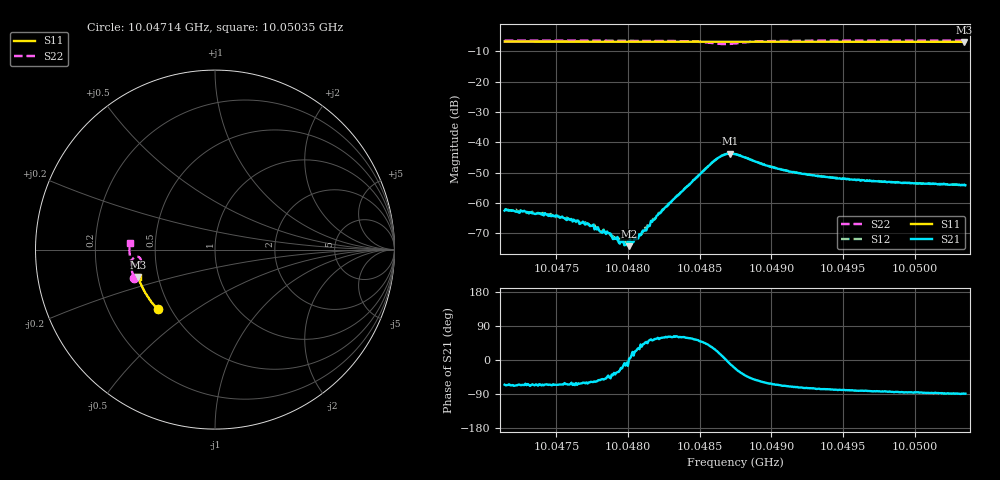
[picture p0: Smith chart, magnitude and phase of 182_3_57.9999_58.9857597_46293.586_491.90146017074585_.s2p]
#  HZ  S  RI  R  50.00
! Rohde & Schwarz Vector Network Analyzer
! Rohde-Schwarz,ZNB20-2Port,1311601062101988,3.16
! Created: UTC 3/21/2024, 12:58:23 AM
! freq[Hz]  re:S11  im:S11  re:S21  im:S21  re:S12  im:S12  re:S22  im:S22
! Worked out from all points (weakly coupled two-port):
!   401 points, 10.04714 GHz to 10.05035 GHz, reference 50 ohm
!   highest |S21| = -43.73 dB at 10.04871 GHz (marker M1); lowest = -74.3 dB at 10.04801 GHz (marker M2)
!   lowest |S11| = -6.8 dB at 10.05035 GHz (marker M3), VSWR 2.67, Z = 19.2 - j7.37 ohm
!   |S11| at or under -10 dB: nowhere
!   |S22| runs from -7.6 to -6.4 dB; largest |S21 - S12| = 0.00044
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1.0047138e10  -0.3196 -0.3314  0.000314 -0.000677  0.000366 -0.000714  -0.4523 -0.1581
1.0047267e10  -0.3256 -0.3252  0.000297 -0.000657  0.000345 -0.000642  -0.455 -0.1496
1.004746e10  -0.3342 -0.3157  0.000249 -0.000552  0.000316 -0.000579  -0.4586 -0.1363
1.0047677e10  -0.3436 -0.3048  0.000224 -0.000413  0.000259 -0.000395  -0.4621 -0.121
1.0047741e10  -0.3464 -0.3015  0.000225 -0.000351  0.000228 -0.000323  -0.4632 -0.1165
1.0047781e10  -0.348 -0.2994  0.0002 -0.000304  0.000252 -0.000299  -0.4637 -0.1135
1.004787e10  -0.3515 -0.2948  0.000218 -0.000229  0.000231 -0.000211  -0.4646 -0.1067
1.0047902e10  -0.3529 -0.2933  0.00021 -0.000142  0.000231 -0.00013  -0.465 -0.1043
1.0047974e10  -0.3558 -0.2893  0.000197 -2.92e-05  0.000191 -6.87e-05  -0.4658 -0.0985
1.0048006e10  -0.3572 -0.2876  0.000193 1.14e-05  0.000209 2.91e-05  -0.4661 -0.0958
1.0048022e10  -0.3578 -0.2867  0.000201 4e-05  0.000207 5.2e-05  -0.466 -0.0946
1.0048079e10  -0.36 -0.2838  0.000267 0.000145  0.000254 0.000152  -0.4664 -0.0898
1.0048215e10  -0.3654 -0.2765  0.000383 0.000549  0.000319 0.000608  -0.4664 -0.0772
1.0048593e10  -0.3791 -0.2553  0.00407 0.00249  0.00392 0.00276  -0.4306 -0.0397
1.0048658e10  -0.3811 -0.252  0.00596 0.00109  0.00593 0.00145  -0.4148 -0.0518
1.0048714e10  -0.3829 -0.2493  0.00639 -0.00127  0.00649 -0.000869  -0.4143 -0.0713
1.0048746e10  -0.384 -0.2473  0.00591 -0.0024  0.00609 -0.00203  -0.4209 -0.0797
1.0049012e10  -0.3932 -0.2325  0.00167 -0.00348  0.00191 -0.00339  -0.4647 -0.0665
1.0049285e10  -0.4017 -0.2165  0.000777 -0.00276  0.000899 -0.00274  -0.4735 -0.0405
1.0049824e10  -0.4166 -0.1843  0.000262 -0.0022  0.000354 -0.00221  -0.4767 0.00102
1.0050347e10  -0.4284 -0.1521  4.14e-05 -0.002  0.000132 -0.00195  -0.4752 0.0374
1.0050355e10  -0.4287 -0.1515  4.02e-05 -0.00196  0.000134 -0.00198  -0.4751 0.038
